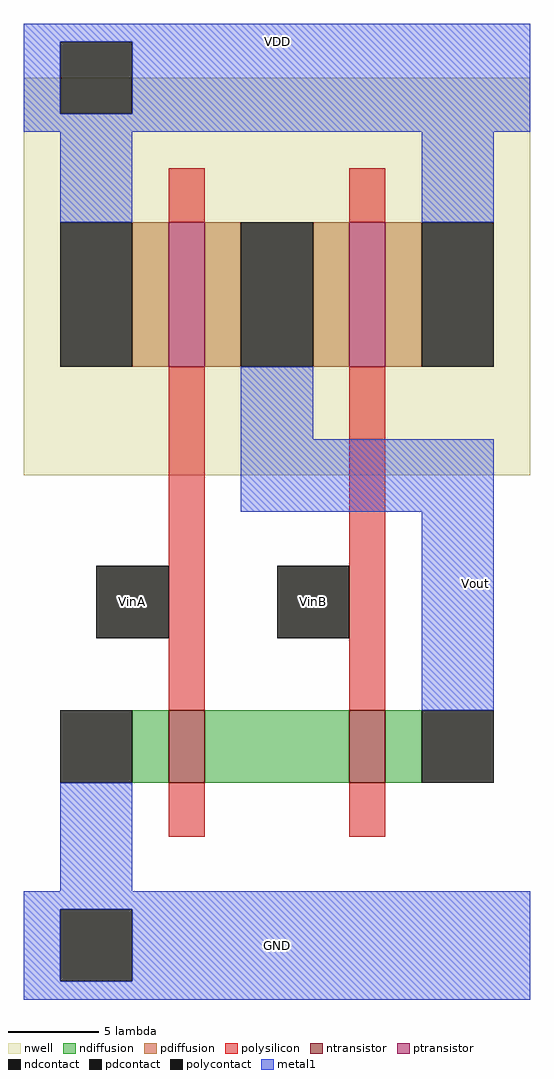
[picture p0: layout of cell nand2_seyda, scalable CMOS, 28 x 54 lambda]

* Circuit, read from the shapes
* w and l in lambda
.subckt nand2_seyda GND VDD VinA VinB Vout
M1 n1 VinA GND VSUBS nfet w=4 l=2
M2 Vout VinB n1 VSUBS nfet w=4 l=2
M3 Vout VinA VDD n2 pfet w=8 l=2
M4 VDD VinB Vout n2 pfet w=8 l=2
.ends

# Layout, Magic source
magic
tech scmos
<< nwell >>
rect -32 -23 -4 -1
<< ntransistor >>
rect -24 -40 -22 -36
rect -14 -40 -12 -36
<< ptransistor >>
rect -24 -17 -22 -9
rect -14 -17 -12 -9
<< ndiffusion >>
rect -26 -40 -24 -36
rect -22 -40 -14 -36
rect -12 -40 -10 -36
<< pdiffusion >>
rect -26 -17 -24 -9
rect -22 -17 -20 -9
rect -16 -17 -14 -9
rect -12 -17 -10 -9
<< ndcontact >>
rect -30 -40 -26 -36
rect -10 -40 -6 -36
rect -30 -51 -26 -47
<< pdcontact >>
rect -30 -3 -26 1
rect -30 -17 -26 -9
rect -20 -17 -16 -9
rect -10 -17 -6 -9
<< polysilicon >>
rect -24 -9 -22 -6
rect -14 -9 -12 -6
rect -24 -36 -22 -17
rect -14 -36 -12 -17
rect -24 -43 -22 -40
rect -14 -43 -12 -40
<< polycontact >>
rect -28 -32 -24 -28
rect -18 -32 -14 -28
<< metal1 >>
rect -32 1 -4 2
rect -32 -3 -30 1
rect -26 -3 -4 1
rect -32 -4 -4 -3
rect -30 -9 -26 -4
rect -10 -9 -6 -4
rect -20 -21 -16 -17
rect -20 -25 -6 -21
rect -10 -36 -6 -25
rect -30 -46 -26 -40
rect -32 -47 -4 -46
rect -32 -51 -30 -47
rect -26 -51 -4 -47
rect -32 -52 -4 -51
<< labels >>
rlabel metal1 -18 -49 -18 -49 1 GND
rlabel polycontact -26 -30 -26 -30 1 VinA
rlabel polycontact -16 -30 -16 -30 1 VinB
rlabel metal1 -18 1 -18 1 5 VDD
rlabel metal1 -7 -29 -7 -29 1 Vout
<< end >>
